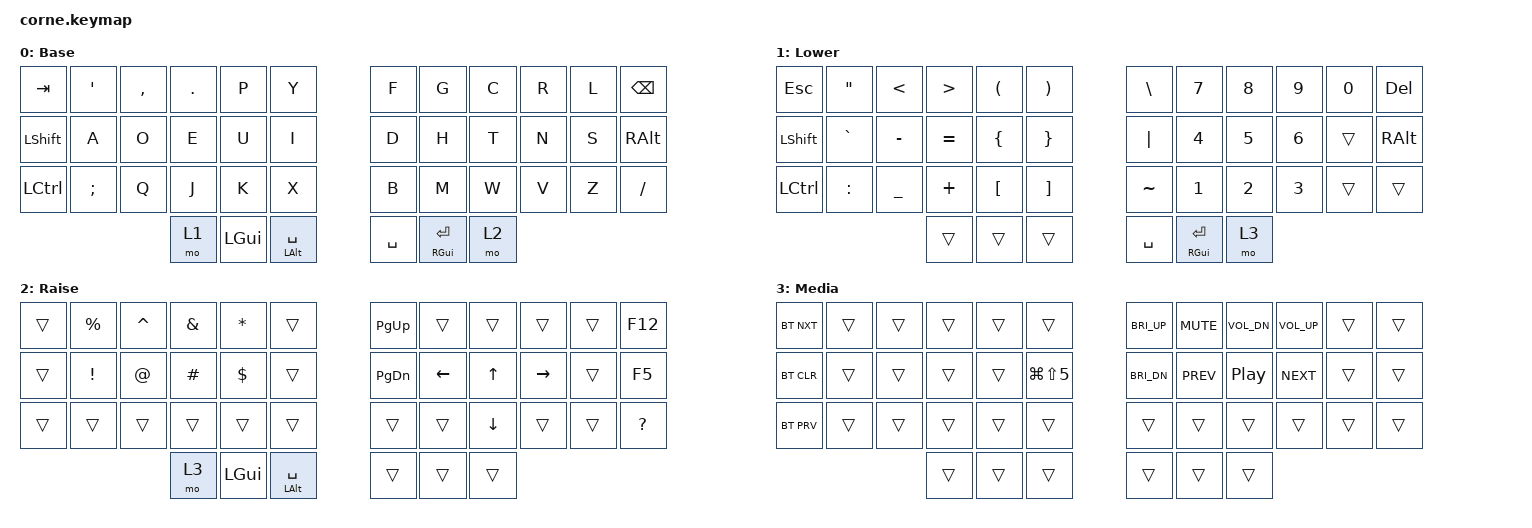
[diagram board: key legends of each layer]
/*
 * Copyright (c) 2020 The ZMK Contributors
 *
 * SPDX-License-Identifier: MIT
 */

#include <behaviors.dtsi>
#include <dt-bindings/zmk/keys.h>
#include <dt-bindings/zmk/bt.h>

/ {
        keymap {
                compatible = "zmk,keymap";

                default_layer {
// -----------------------------------------------------------------------------------------
// |  TAB  |  '  |  ,  |  .  |  P  |  Y  |   |  F  |  G   |  C  |  R  |  L  | BKSP |
// | LSHFT |  A  |  O  |  E  |  U  |  I  |   |  D  |  H   |  T  |  N  |  S  | RALT |
// | LCTRL |  ;  |  Q  |  J  |  K  |  X  |   |  B  |  M   |  W  |  V  |  Z  |   /  |
//                     | LWR | GUI | SPC |   | SPC | ENT  | RSE |
                        display-name = "Base";
                        bindings = <
   &kp TAB   &kp SQT  &kp COMMA &kp DOT &kp P &kp Y   &kp F &kp G  &kp C  &kp R  &kp L  &kp BSPC
   &kp LSHFT &kp A    &kp O     &kp E   &kp U &kp I   &kp D &kp H  &kp T  &kp N  &kp S  &kp RALT
   &kp LCTRL &kp SEMI &kp Q     &kp J   &kp K &kp X   &kp B &kp M  &kp W  &kp V  &kp Z  &kp FSLH
                      &mo 1 &kp LGUI &mt LALT SPACE   &kp SPACE &mt RGUI RET &mo 2
                        >;
                };

                lower_layer {
// -----------------------------------------------------------------------------------------
// |  ESC  |  "  |  <  |  >  |  (  |  )  |   |  \  |  7  |  8  |  9  |  0  | DEL  |
// | LSHFT |  `  |  -  |  =  |  {  |  }  |   |  |  |  4  |  5  |  6  |     | RALT |
// | LCTRL |  :  |  _  |  +  |  [  |  ]  |   |  ~  |  1  |  2  |  3  |     |      |
//                   |     |  GUI  | SPC |   | SPC | ENT | MED |
                        display-name = "Lower";
                        bindings = <
   &kp ESC   &kp DQT   &kp LT    &kp GT    &kp LPAR &kp RPAR   &kp BSLH  &kp N7 &kp N8 &kp N9 &kp N0 &kp DEL
   &kp LSHFT &kp GRAVE &kp MINUS &kp EQUAL &kp LBRC &kp RBRC   &kp PIPE  &kp N4 &kp N5 &kp N6 &trans &kp RALT
   &kp LCTRL &kp COLON &kp UNDER &kp PLUS  &kp LBKT &kp RBKT   &kp TILDE &kp N1 &kp N2 &kp N3 &trans &trans
                                        &trans &trans &trans   &kp SPACE &mt RGUI RET &mo 3
                        >;
                };

                raise_layer {
// -----------------------------------------------------------------------------------------
// |     |  %  |  ^  |  &  |  *  |     |   | PG_UP |     |     |     |     | F12 |
// |     |  !  |  @  |  #  |  $  |     |   | PG_DN | LFT | UP  | RGT |     | F5  |
// |     |     |     |     |     |     |   |       |     | DWN |     |     |  ?  |
//                     | MED | GUI | SPC |   | SPC | ENT |     |
                        display-name = "Raise";
                        bindings = <
   &trans &kp PRCNT &kp CARET &kp AMPS &kp STAR &trans   &kp PG_UP &trans   &trans   &trans    &trans  &kp F12
   &trans &kp EXCL  &kp AT    &kp HASH &kp DLLR &trans   &kp PG_DN &kp LEFT &kp UP   &kp RIGHT &trans  &kp F5
   &trans &trans    &trans    &trans   &trans   &trans   &trans    &trans   &kp DOWN &trans    &trans  &kp QMARK
                           &mo 3 &kp LGUI &mt LALT SPACE   &trans &trans &trans
                        >;
                };

                media_layer {
// -----------------------------------------------------------------------------------------
// | BL NXT  |     |     |     |     |      |   | BUP | MUTE | VOLD | VOLU |     |     |
// | BL CLR  |     |     |     |     | PRNT |   | BDN | PREV | PLAY | NEXT |     |     |
// | BL PREV |     |     |     |     |      |   |     |      |      |      |     |     |
//                     | MED | GUI | SPC |   | SPC | ENT |     |
                        display-name = "Media";
                        bindings = <
   &bt BT_NXT &trans &trans &trans &trans &trans           &kp C_BRI_UP &kp C_MUTE &kp C_VOL_DN &kp C_VOL_UP &trans &trans
   &bt BT_CLR &trans &trans &trans &trans &kp LG(LS(N5))   &kp C_BRI_DN &kp C_PREV &kp C_PP     &kp C_NEXT   &trans &trans
   &bt BT_PRV &trans &trans &trans &trans &trans           &trans       &trans     &trans       &trans       &trans &trans
                    	         &trans &trans &trans   &trans &trans &trans
                        >;
                };

                extra_1 {
                        status = "reserved";
                };

                extra_2 {
                        status = "reserved";
                };

                extra_3 {
                        status = "reserved";
                };
        };
};
